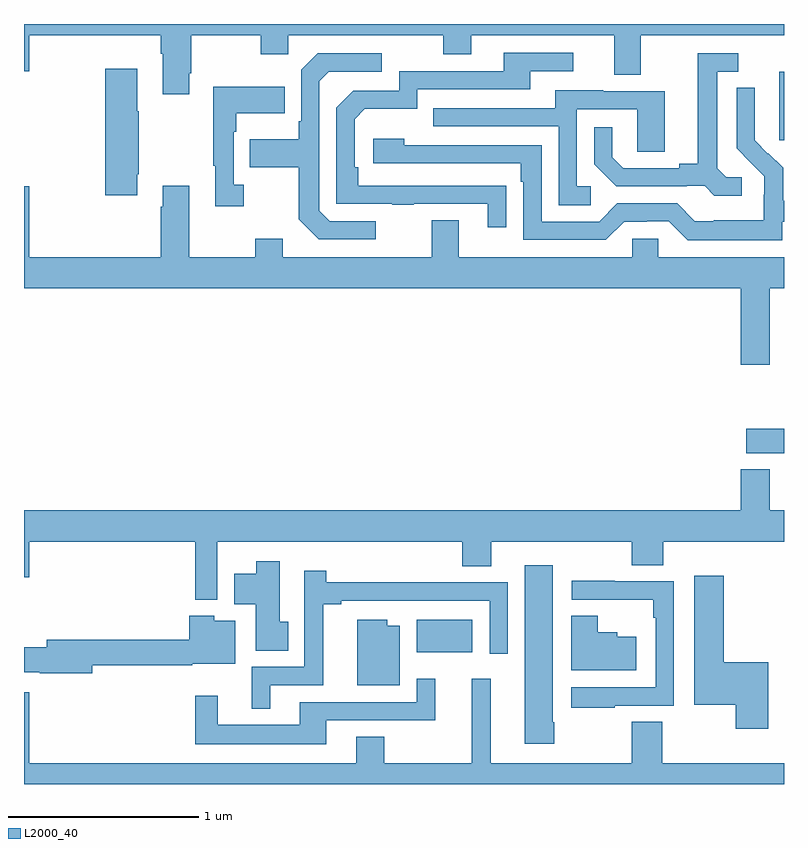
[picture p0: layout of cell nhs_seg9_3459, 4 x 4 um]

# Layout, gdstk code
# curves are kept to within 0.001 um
import gdstk
lib = gdstk.Library(unit=1e-6, precision=1e-09)
def R(c, l, rs):  # rectangles x0, y0, x1, y1
    for r in rs: c.add(gdstk.rectangle(r[:2], r[2:], *l))
def P(c, l, *ps):  # polygons
    for p in ps: c.add(gdstk.Polygon(p, *l))
L2000_40 = (2000, 40)

nhs_seg9_3459 = lib.new_cell('nhs_seg9_3459')
R(nhs_seg9_3459, L2000_40, [(311.066,1173.194,311.359,1173.364), (312.801,1174.241,313,1174.371), (312.974,1175.889,313,1176.25)])
P(nhs_seg9_3459, L2000_40, [(309,1176.252),(309.028,1176.252),(309.028,1176.44),(309.719,1176.44),(309.719,1176.344),(309.731,1176.344),(309.731,1176.129),(309.871,1176.129),(309.871,1176.241),(309.879,1176.241),(309.879,1176.44),(310.246,1176.44),(310.246,1176.341),(310.392,1176.341),(310.392,1176.44),(311.206,1176.44),(311.206,1176.341),(311.353,1176.341),(311.353,1176.44),(312.107,1176.44),(312.107,1176.232),(312.247,1176.232),(312.247,1176.44),(313,1176.44),(313,1176.5),(309,1176.5)],
  [(311.537,1175.648),(310.76,1175.649),(310.76,1175.746),(310.74,1175.746),(310.74,1176),(310.793,1176.053),(311.07,1176.053),(311.07,1176.156),(311.665,1176.156),(311.665,1176.252),(311.89,1176.252),(311.89,1176.348),(311.525,1176.348),(311.525,1176.252),(310.974,1176.252),(310.974,1176.15),(310.734,1176.15),(310.644,1176.06),(310.644,1175.553),(310.939,1175.553),(310.939,1175.548),(311.051,1175.548),(311.051,1175.553),(311.441,1175.553),(311.441,1175.43),(311.537,1175.43)],
  [(310.852,1175.463),(310.608,1175.463),(310.554,1175.517),(310.554,1176.198),(310.605,1176.249),(310.882,1176.249),(310.882,1176.345),(310.545,1176.345),(310.458,1176.258),(310.458,1175.989),(310.446,1175.989),(310.446,1175.893),(310.189,1175.893),(310.189,1175.746),(310.446,1175.746),(310.446,1175.473),(310.551,1175.367),(310.852,1175.367)],
  [(312.778,1175.694),(312.696,1175.694),(312.649,1175.741),(312.649,1176.249),(312.76,1176.249),(312.76,1176.345),(312.545,1176.345),(312.545,1175.765),(312.449,1175.765),(312.449,1175.742),(312.154,1175.742),(312.097,1175.799),(312.097,1175.956),(312,1175.956),(312,1175.762),(312.116,1175.646),(312.488,1175.646),(312.488,1175.649),(312.582,1175.649),(312.634,1175.597),(312.778,1175.597)],
  [(309.595,1175.71),(309.603,1175.71),(309.603,1176.041),(309.595,1176.041),(309.595,1176.265),(309.428,1176.265),(309.428,1175.598),(309.595,1175.598)],
  [(310.156,1175.654),(310.104,1175.654),(310.104,1175.933),(310.117,1175.933),(310.117,1176.029),(310.373,1176.029),(310.373,1176.169),(309.996,1176.169),(309.996,1175.753),(310.007,1175.753),(310.007,1175.541),(310.156,1175.541)],
  [(312.99,1175.46),(313,1175.46),(313,1175.569),(312.995,1175.569),(312.995,1175.743),(312.918,1175.82),(312.915,1175.817),(312.845,1175.888),(312.846,1176.164),(312.75,1176.164),(312.75,1175.846),(312.896,1175.698),(312.896,1175.601),(312.894,1175.601),(312.894,1175.467),(312.631,1175.467),(312.631,1175.463),(312.531,1175.463),(312.438,1175.556),(312.123,1175.556),(312.027,1175.46),(311.724,1175.46),(311.724,1175.862),(311,1175.862),(311,1175.896),(310.839,1175.896),(310.839,1175.766),(311.615,1175.766),(311.615,1175.669),(311.628,1175.669),(311.628,1175.364),(312.063,1175.364),(312.159,1175.46),(312.278,1175.46),(312.278,1175.463),(312.393,1175.463),(312.493,1175.363),(312.99,1175.363)],
  [(311.983,1175.646),(311.91,1175.646),(311.91,1176.051),(312.228,1176.051),(312.228,1175.827),(312.373,1175.827),(312.373,1176.147),(312.049,1176.147),(312.049,1176.151),(311.795,1176.151),(311.795,1176.057),(311.155,1176.057),(311.155,1175.961),(311.814,1175.961),(311.814,1175.545),(311.983,1175.545)],
  [(312.925,1175.108),(313,1175.108),(313,1175.272),(312.339,1175.272),(312.339,1175.37),(312.201,1175.37),(312.201,1175.272),(311.287,1175.272),(311.287,1175.467),(311.147,1175.467),(311.147,1175.272),(310.363,1175.272),(310.363,1175.371),(310.216,1175.371),(310.216,1175.272),(309.871,1175.272),(309.871,1175.65),(309.731,1175.65),(309.731,1175.537),(309.719,1175.537),(309.719,1175.272),(309.028,1175.272),(309.028,1175.647),(309,1175.647),(309,1175.108),(312.773,1175.108),(312.773,1174.707),(312.925,1174.707)],
  [(310.017,1173.776),(311.306,1173.776),(311.306,1173.646),(311.458,1173.646),(311.458,1173.776),(312.199,1173.776),(312.199,1173.652),(312.365,1173.652),(312.365,1173.776),(313,1173.776),(313,1173.94),(312.925,1173.94),(312.925,1174.156),(312.773,1174.156),(312.773,1173.94),(309,1173.94),(309,1173.588),(309.028,1173.588),(309.028,1173.776),(309.901,1173.776),(309.901,1173.47),(310.017,1173.47)],
  [(310.391,1173.354),(310.345,1173.354),(310.345,1173.673),(310.223,1173.673),(310.223,1173.607),(310.106,1173.607),(310.106,1173.446),(310.22,1173.446),(310.22,1173.202),(310.391,1173.202)],
  [(311.79,1172.824),(311.782,1172.824),(311.782,1173.652),(311.636,1173.652),(311.636,1172.712),(311.79,1172.712)],
  [(310.297,1173.021),(310.574,1173.021),(310.574,1173.445),(310.669,1173.445),(310.669,1173.465),(311.451,1173.465),(311.451,1173.186),(311.547,1173.186),(311.547,1173.561),(311.222,1173.561),(311.222,1173.563),(310.592,1173.563),(310.592,1173.622),(310.476,1173.622),(310.476,1173.117),(310.199,1173.117),(310.199,1172.897),(310.297,1172.897)],
  [(312.918,1173.142),(312.683,1173.142),(312.683,1173.595),(312.527,1173.595),(312.527,1172.918),(312.745,1172.918),(312.745,1172.79),(312.918,1172.79)],
  [(312.11,1172.913),(312.42,1172.913),(312.42,1173.567),(312.11,1173.567),(312.11,1173.569),(311.883,1173.569),(311.883,1173.471),(312.123,1173.471),(312.123,1173.47),(312.312,1173.47),(312.312,1173.374),(312.324,1173.374),(312.324,1173.009),(311.88,1173.009),(311.88,1172.901),(312.11,1172.901)],
  [(312.223,1173.274),(312.123,1173.274),(312.123,1173.298),(312.021,1173.298),(312.021,1173.386),(311.879,1173.386),(311.879,1173.098),(312.223,1173.098)],
  [(309.358,1173.124),(309.885,1173.124),(309.885,1173.134),(310.111,1173.134),(310.111,1173.358),(310.002,1173.358),(310.002,1173.385),(309.869,1173.385),(309.869,1173.26),(309.119,1173.26),(309.119,1173.219),(309,1173.219),(309,1173.089),(309.082,1173.089),(309.082,1173.082),(309.358,1173.082)],
  [(310.978,1173.334),(310.912,1173.334),(310.912,1173.364),(310.754,1173.364),(310.754,1173.02),(310.978,1173.02)],
  [(313,1172.608),(312.36,1172.608),(312.36,1172.828),(312.199,1172.828),(312.199,1172.608),(311.456,1172.608),(311.456,1173.055),(311.357,1173.055),(311.357,1172.608),(310.896,1172.608),(310.896,1172.75),(310.748,1172.75),(310.748,1172.608),(309.028,1172.608),(309.028,1172.983),(309,1172.983),(309,1172.5),(313,1172.5)],
  [(310.591,1172.835),(311.165,1172.835),(311.165,1173.055),(311.067,1173.055),(311.067,1172.931),(310.451,1172.931),(310.451,1172.812),(310.021,1172.812),(310.021,1172.965),(309.9,1172.965),(309.9,1172.708),(310.591,1172.708)])

lib.write_gds('nhs_seg9_3459.gds')
